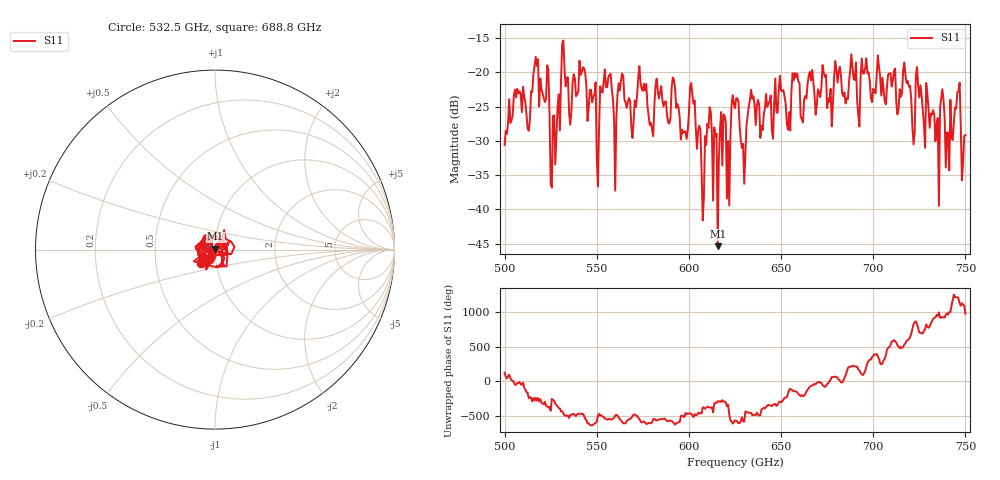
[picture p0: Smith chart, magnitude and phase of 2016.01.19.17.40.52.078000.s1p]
!Created with skrf (http://scikit-rf.org).
# GHz S RI R 50.0
!freq ReS11 ImS11
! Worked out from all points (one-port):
!   401 points, 500 GHz to 750 GHz, reference 50 ohm
!   lowest |S11| = -45.3 dB at 615.6 GHz (marker M1), VSWR 1.01, Z = 50.2 + j0.507 ohm
!   |S11| at or under -10 dB: start of sweep to end of sweep
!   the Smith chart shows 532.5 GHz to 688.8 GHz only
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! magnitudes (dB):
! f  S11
! 500 GHz  -30.6
! 506.2 GHz  -23.7
! 513.1 GHz  -28.5
! 516.9 GHz  -17.8
! 523.1 GHz  -19.0
! 526.2 GHz  -26.4
! 531.2 GHz  -15.8
! 541.9 GHz  -20.0
! 550 GHz  -32.4
! 553.1 GHz  -23.0
! 560 GHz  -37.3
! 562.5 GHz  -22.7
! 593.8 GHz  -24.6
! 608.1 GHz  -38.1
! 615.6 GHz  -45.3
! 618.8 GHz  -26.2
! 621.9 GHz  -39.4
! 625 GHz  -25.2
! 629.4 GHz  -30.4
! 633.8 GHz  -22.6
! 656.2 GHz  -20.1
! 687.5 GHz  -19.7
! 718.8 GHz  -21.3
! 734.4 GHz  -27.7
! 737.5 GHz  -22.5
! 740 GHz  -28.7
! 745.6 GHz  -22.9
! 750 GHz  -29.2
